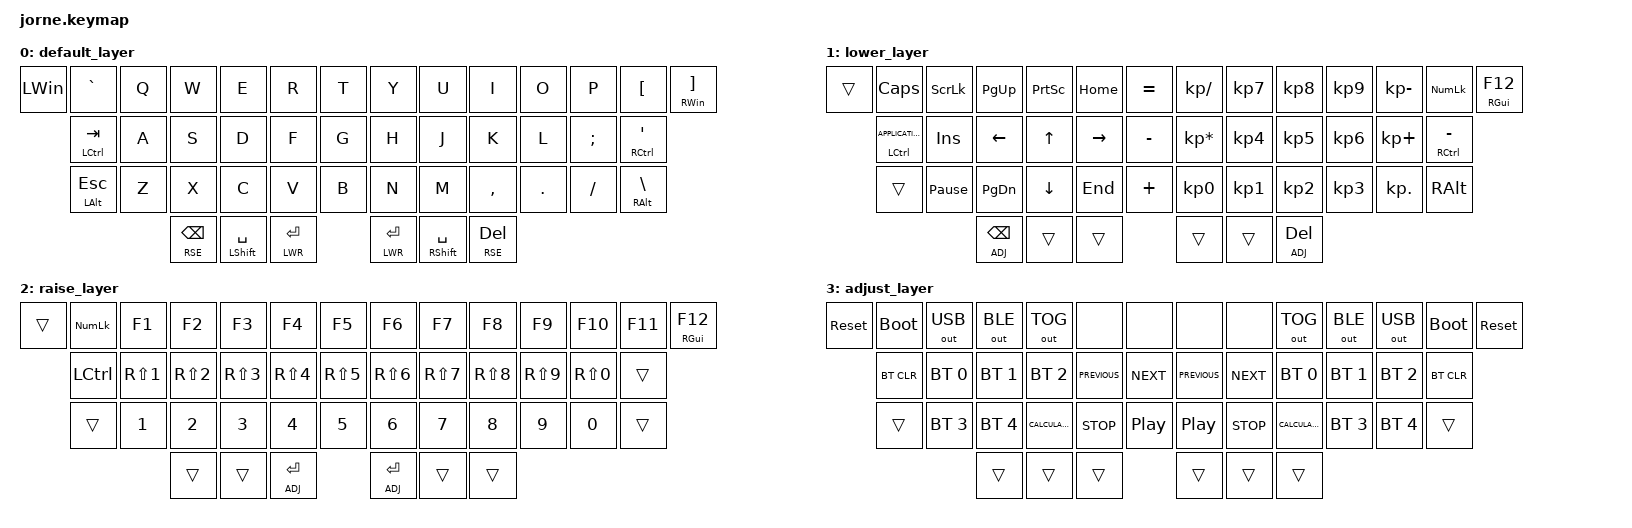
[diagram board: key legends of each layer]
/*
 * Copyright (c) 2020 The ZMK Contributors
 *
 * SPDX-License-Identifier: MIT
 */

#include <behaviors.dtsi>
#include <dt-bindings/zmk/keys.h>
#include <dt-bindings/zmk/outputs.h>
#include <dt-bindings/zmk/bt.h>

#define DEF 0
#define LWR 1
#define RSE 2
#define ADJ 3

&mt {
    quick-tap-ms = <260>;
    tapping-term-ms = <130>;
};

&lt {
    quick-tap-ms = <260>;
    tapping-term-ms = <130>;
};

/ {
    keymap {
        compatible = "zmk,keymap";

        default_layer {
            // -----------------------------------------------------------------------------------------
            // |  GUI |   ~  |  Q  |  W  |  E  |  R  |  T  |   |  Y  |  U   |  I  |  O  |  P  |  [   | GUI/] |
            //        | CTRL |  A  |  S  |  D  |  F  |  G  |   |  H  |  J   |  K  |  L  |  ;  |CTRL/'|
            //        | LALT |  Z  |  X  |  C  |  V  |  B  |   |  N  |  M   |  ,  |  .  |  /  | RALT |
            //                           | RSE | SPC | LWR |   | LWR | BKSP | RSE |

            bindings = <
&kp LWIN        &kp GRAVE  &kp Q  &kp W              &kp E            &kp R        &kp T            &kp Y            &kp U        &kp I    &kp O     &kp P                 &kp LBKT  &mt RWIN RBKT
            &mt LCTRL TAB  &kp A  &kp S              &kp D            &kp F        &kp G            &kp H            &kp J        &kp K    &kp L  &kp SEMI            &mt RCTRL SQT
          &mt LALT ESCAPE  &kp Z  &kp X              &kp C            &kp V        &kp B            &kp N            &kp M    &kp COMMA  &kp DOT  &kp FSLH  &mt RIGHT_ALT BACKSLASH
                                         &lt RSE BACKSPACE  &mt LSHFT SPACE  &lt LWR RET    &lt LWR ENTER  &mt RSHFT SPACE  &lt RSE DEL
            >;
        };

        lower_layer {
            // -----------------------------------------------------------------------------------------
            // |     |  _  |  F1 |  F2 |  F3 |  F4 |  F5 |   |  F6 |  F7 |  F8 |  F9 | F10 | F11 | F12 |
            //       |  +  |  !  |  @  |  #  |  $  |  %  |   |  ^  |  &  |  *  |  (  |  )  |  -  |
            //       |  =  |  1  |  2  |  3  |  4  |  5  |   |  6  |  7  |  8  |  9  |  0  |     |
            //                    | GUI |     | SPC |   | ENT |     | ALT |

            bindings = <
&trans                 &kp CAPS   &kp SCROLLLOCK       &kp PG_UP    &kp PRINTSCREEN   &kp HOME  &kp EQUAL      &kp KP_DIVIDE  &kp KP_NUMBER_7  &kp KP_NUMBER_8  &kp KP_NUMBER_9  &kp KP_MINUS   &kp KP_NUMLOCK  &mt RGUI F12
        &mt LCTRL K_APPLICATION       &kp INSERT  &kp LEFT_ARROW       &kp UP_ARROW  &kp RIGHT  &kp MINUS    &kp KP_ASTERISK  &kp KP_NUMBER_4  &kp KP_NUMBER_5  &kp KP_NUMBER_6   &kp KP_PLUS  &mt RCTRL MINUS
                         &trans  &kp PAUSE_BREAK   &kp PAGE_DOWN     &kp DOWN_ARROW    &kp END   &kp PLUS    &kp KP_NUMBER_0  &kp KP_NUMBER_1  &kp KP_NUMBER_2  &kp KP_NUMBER_3    &kp KP_DOT         &kp RALT
                                                                  &lt ADJ BACKSPACE     &trans     &trans             &trans           &trans      &lt ADJ DEL
            >;
        };

        raise_layer {
            // -----------------------------------------------------------------------------------------
            // |     | NMLK |  /  |  7  |  8  |  9  |  -  |   | VOLU| HOME| PRSC| PGUP| SCLK| CLCK|     |
            //       | CTRL |  *  |  4  |  5  |  6  |  +  |   | MUT | LEFT|  UP | RGHT| INS | APP |
            //       |      |  0  |  1  |  2  |  3  |  .  |   | VOLD| END | DOWN| PGDN| PAUS|     |
            //                          |     |     | ADJ |   | ADJ |     |     |

            bindings = <
&trans  &kp KP_NUM            &kp F1            &kp F2            &kp F3            &kp F4            &kp F5              &kp F6            &kp F7            &kp F8            &kp F9           &kp F10  &kp F11  &mt RGUI F12
         &kp LCTRL  &kp RS(NUMBER_1)  &kp RS(NUMBER_2)  &kp RS(NUMBER_3)  &kp RS(NUMBER_4)  &kp RS(NUMBER_5)    &kp RS(NUMBER_6)  &kp RS(NUMBER_7)  &kp RS(NUMBER_8)  &kp RS(NUMBER_9)  &kp RS(NUMBER_0)   &trans
            &trans      &kp NUMBER_1      &kp NUMBER_2      &kp NUMBER_3      &kp NUMBER_4      &kp NUMBER_5        &kp NUMBER_6      &kp NUMBER_7      &kp NUMBER_8      &kp NUMBER_9      &kp NUMBER_0   &trans
                                                                  &trans            &trans       &lt ADJ RET       &lt ADJ ENTER            &trans            &trans
            >;
        };

        adjust_layer {
            // -----------------------------------------------------------------------------------------
            // | RST | BLDR |     |     |     |     |     |   |     |     |     |     |     | BLDR | RST |
            //       | BTCLR| BT0 | BT1 | BT2 | BT3 | BT4 |   | BT4 | BT3 | BT2 | BT1 | BT0 | BTCLR|
            //       |      |     |     |     |     |     |   |     |     |     |     |     |      |
            //                          |     |     |     |   |     |     |     |

            bindings = <
&sys_reset  &bootloader  &out OUT_USB  &out OUT_BLE      &out OUT_TOG           &none             &none               &none       &none      &out OUT_TOG  &out OUT_BLE  &out OUT_USB  &bootloader  &sys_reset
             &bt BT_CLR  &bt BT_SEL 0  &bt BT_SEL 1      &bt BT_SEL 2  &kp C_PREVIOUS        &kp C_NEXT      &kp C_PREVIOUS  &kp C_NEXT      &bt BT_SEL 0  &bt BT_SEL 1  &bt BT_SEL 2   &bt BT_CLR
                 &trans  &bt BT_SEL 3  &bt BT_SEL 4  &kp K_CALCULATOR      &kp C_STOP  &kp C_PLAY_PAUSE    &kp C_PLAY_PAUSE  &kp C_STOP  &kp K_CALCULATOR  &bt BT_SEL 3  &bt BT_SEL 4       &trans
                                                               &trans          &trans            &trans              &trans      &trans            &trans
            >;
        };
    };
};
